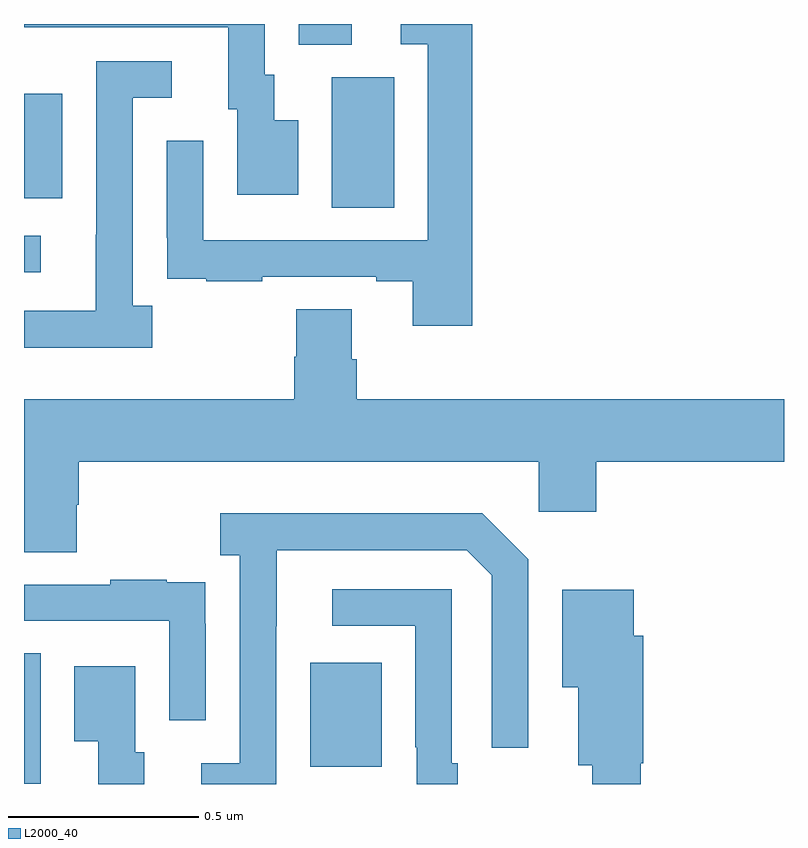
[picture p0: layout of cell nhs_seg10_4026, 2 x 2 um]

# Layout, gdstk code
import gdstk
lib = gdstk.Library(unit=1e-6, precision=1e-09)
def R(c, l, rs):  # rectangles x0, y0, x1, y1
    for r in rs: c.add(gdstk.rectangle(r[:2], r[2:], *l))
def P(c, l, *ps):  # polygons
    for p in ps: c.add(gdstk.Polygon(p, *l))
L2000_40 = (2000, 40)

nhs_seg10_4026 = lib.new_cell('nhs_seg10_4026')
R(nhs_seg10_4026, L2000_40, [(161,1267.501,161.044,1267.844), (161.753,1267.545,161.941,1267.819), (161,1268.847,161.044,1268.943), (161.81,1269.016,161.974,1269.36), (161,1269.041,161.101,1269.316), (161.723,1269.445,161.863,1269.5)])
P(nhs_seg10_4026, L2000_40, [(161.722,1269.247),(161.659,1269.247),(161.659,1269.366),(161.634,1269.366),(161.634,1269.5),(161,1269.5),(161,1269.492),(161.537,1269.492),(161.537,1269.276),(161.561,1269.276),(161.561,1269.051),(161.722,1269.051)],
  [(162.179,1269.5),(161.991,1269.5),(161.991,1269.447),(162.063,1269.447),(162.063,1268.931),(161.472,1268.931),(161.472,1269.193),(161.376,1269.193),(161.376,1268.938),(161.377,1268.938),(161.377,1268.829),(161.479,1268.829),(161.479,1268.823),(161.627,1268.823),(161.627,1268.835),(161.927,1268.835),(161.927,1268.823),(162.023,1268.823),(162.023,1268.706),(162.179,1268.706)],
  [(161.338,1268.758),(161.286,1268.758),(161.286,1269.306),(161.389,1269.306),(161.389,1269.402),(161.19,1269.402),(161.19,1268.945),(161.189,1268.945),(161.189,1268.745),(161,1268.745),(161,1268.648),(161.338,1268.648)],
  [(161.139,1268.235),(161.144,1268.235),(161.144,1268.348),(162.354,1268.348),(162.354,1268.217),(162.506,1268.217),(162.506,1268.348),(163,1268.348),(163,1268.512),(161.876,1268.512),(161.876,1268.618),(161.863,1268.618),(161.863,1268.75),(161.716,1268.75),(161.716,1268.625),(161.711,1268.625),(161.711,1268.512),(161,1268.512),(161,1268.11),(161.139,1268.11)],
  [(161.664,1267.915),(161.665,1267.915),(161.665,1268.115),(162.165,1268.115),(162.231,1268.049),(162.231,1267.596),(162.327,1267.596),(162.327,1268.091),(162.206,1268.212),(161.517,1268.212),(161.517,1268.102),(161.568,1268.102),(161.568,1267.554),(161.466,1267.554),(161.466,1267.5),(161.664,1267.5)],
  [(161.478,1267.922),(161.477,1267.922),(161.477,1268.031),(161.375,1268.031),(161.375,1268.038),(161.227,1268.038),(161.227,1268.025),(161,1268.025),(161,1267.929),(161.382,1267.929),(161.382,1267.668),(161.478,1267.668)],
  [(162.141,1267.555),(162.126,1267.555),(162.126,1268.013),(161.811,1268.013),(161.811,1267.917),(162.03,1267.917),(162.03,1267.597),(162.033,1267.597),(162.033,1267.5),(162.141,1267.5)],
  [(162.623,1267.554),(162.629,1267.554),(162.629,1267.89),(162.604,1267.89),(162.604,1268.011),(162.416,1268.011),(162.416,1267.754),(162.458,1267.754),(162.458,1267.55),(162.495,1267.55),(162.495,1267.5),(162.623,1267.5)],
  [(161.317,1267.584),(161.293,1267.584),(161.293,1267.81),(161.132,1267.81),(161.132,1267.613),(161.195,1267.613),(161.195,1267.5),(161.317,1267.5)])

lib.write_gds('nhs_seg10_4026.gds')
